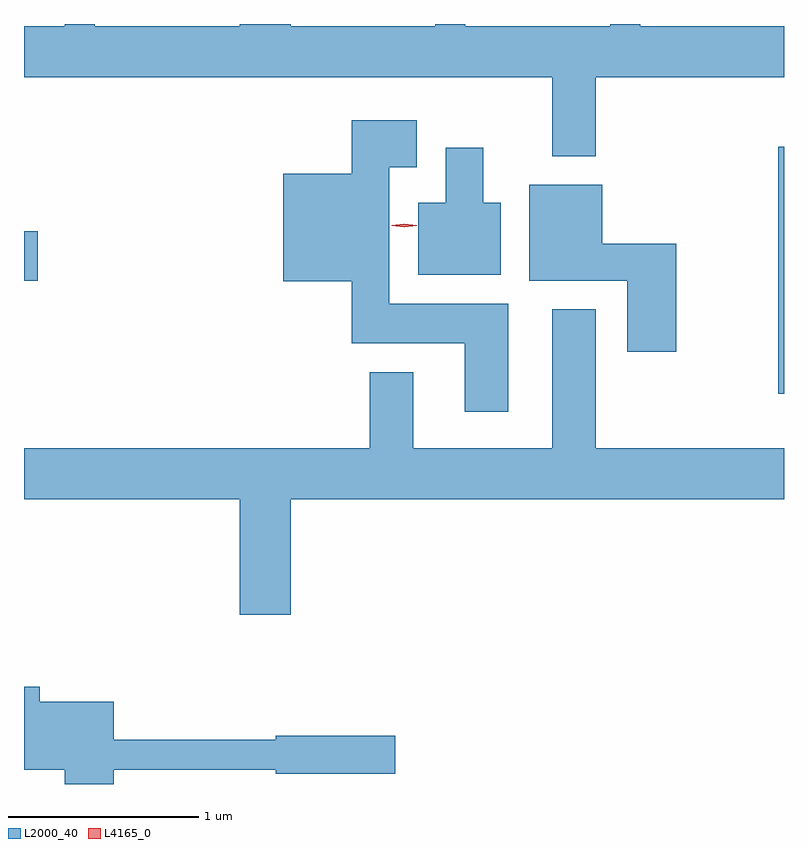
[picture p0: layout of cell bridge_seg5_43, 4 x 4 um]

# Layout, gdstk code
import gdstk
lib = gdstk.Library(unit=1e-6, precision=1e-09)
def R(c, l, rs):  # rectangles x0, y0, x1, y1
    for r in rs: c.add(gdstk.rectangle(r[:2], r[2:], *l))
def P(c, l, *ps):  # polygons
    for p in ps: c.add(gdstk.Polygon(p, *l))
L2000_40 = (2000, 40)
L4165_0 = (4165, 0)

bridge_seg5_43 = lib.new_cell('bridge_seg5_43')
R(bridge_seg5_43, L2000_40, [(1336.791,1488.431,1336.821,1489.729), (1332.821,1489.026,1332.894,1489.284)])
P(bridge_seg5_43, L2000_40, [(1335.829,1490.096),(1336.821,1490.096),(1336.821,1490.364),(1336.064,1490.364),(1336.064,1490.376),(1335.906,1490.376),(1335.906,1490.364),(1335.144,1490.364),(1335.144,1490.376),(1334.986,1490.376),(1334.986,1490.364),(1334.224,1490.364),(1334.224,1490.376),(1333.956,1490.376),(1333.956,1490.364),(1333.194,1490.364),(1333.194,1490.376),(1333.036,1490.376),(1333.036,1490.364),(1332.821,1490.364),(1332.821,1490.096),(1335.601,1490.096),(1335.601,1489.681),(1335.829,1489.681)],
  [(1335.369,1488.904),(1334.744,1488.904),(1334.744,1489.621),(1334.889,1489.621),(1334.889,1489.869),(1334.546,1489.869),(1334.546,1489.589),(1334.186,1489.589),(1334.186,1489.021),(1334.546,1489.021),(1334.546,1488.696),(1335.141,1488.696),(1335.141,1488.336),(1335.369,1488.336)],
  [(1335.329,1489.434),(1335.239,1489.434),(1335.239,1489.724),(1335.041,1489.724),(1335.041,1489.434),(1334.896,1489.434),(1334.896,1489.056),(1335.329,1489.056)],
  [(1336.254,1489.219),(1335.864,1489.219),(1335.864,1489.529),(1335.481,1489.529),(1335.481,1489.026),(1335.996,1489.026),(1335.996,1488.651),(1336.254,1488.651)],
  [(1334.224,1487.876),(1336.821,1487.876),(1336.821,1488.144),(1335.829,1488.144),(1335.829,1488.874),(1335.601,1488.874),(1335.601,1488.144),(1334.869,1488.144),(1334.869,1488.544),(1334.641,1488.544),(1334.641,1488.144),(1332.821,1488.144),(1332.821,1487.876),(1333.956,1487.876),(1333.956,1487.266),(1334.224,1487.266)],
  [(1333.294,1486.451),(1334.146,1486.451),(1334.146,1486.431),(1334.774,1486.431),(1334.774,1486.629),(1334.146,1486.629),(1334.146,1486.609),(1333.294,1486.609),(1333.294,1486.809),(1332.904,1486.809),(1332.904,1486.889),(1332.821,1486.889),(1332.821,1486.451),(1333.036,1486.451),(1333.036,1486.376),(1333.294,1486.376)])
P(bridge_seg5_43, L4165_0, [(1334.822,1489.305),(1334.756,1489.315),(1334.756,1489.315),(1334.756,1489.316),(1334.822,1489.325),(1334.888,1489.316),(1334.888,1489.315),(1334.888,1489.315)])

lib.write_gds('bridge_seg5_43.gds')
